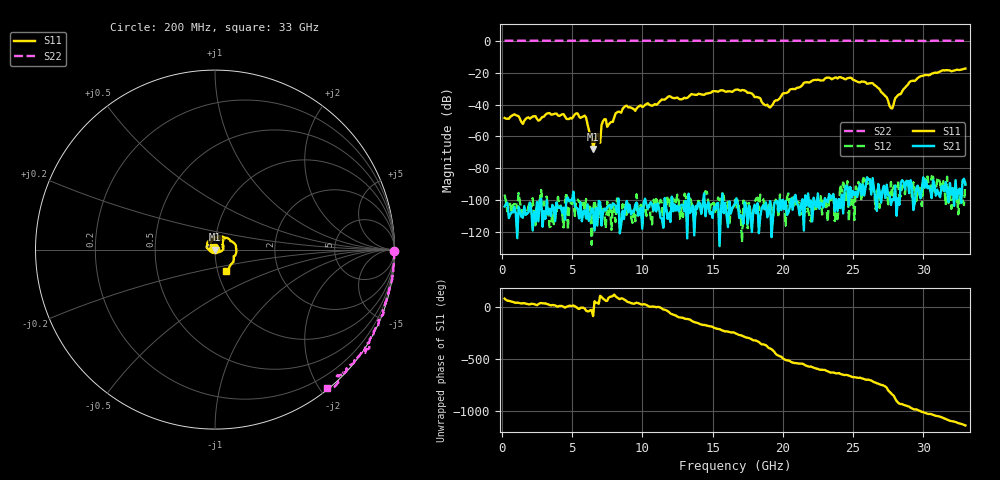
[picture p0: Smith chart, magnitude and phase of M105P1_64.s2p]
# GHZ S RI R 50
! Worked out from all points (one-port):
!   329 points, 200 MHz to 33 GHz, reference 50 ohm
!   lowest |S11| = -67.9 dB at 6.5 GHz (marker M1), VSWR 1.00, Z = 50 - j0.04 ohm
!   |S11| at or under -10 dB: start of sweep to end of sweep
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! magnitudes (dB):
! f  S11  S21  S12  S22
! 200 MHz  -48.5  -103.9  -96.5  0.0
! 900 MHz  -46.2  -104.3  -102.4  0.0
! 1.5 GHz  -52.2  -111.0  -111.6  0.0
! 3.3 GHz  -45.4  -108.9  -106.0  0.0
! 5.7 GHz  -47.9  -113.2  -104.4  0.0
! 6 GHz  -48.2  -111.4  -99.4  0.0
! 6.4 GHz  -59.6  -105.3  -127.9  0.0
! 6.5 GHz  -67.9  -106.0  -106.1  0.0
! 6.8 GHz  -58.8  -115.9  -104.2  0.0
! 7 GHz  -64.0  -101.2  -102.6  0.0
! 7.1 GHz  -52.9  -115.9  -106.0  0.0
! 7.3 GHz  -49.3  -105.3  -108.8  0.0
! 7.5 GHz  -54.0  -104.5  -100.8  0.0
! 8.8 GHz  -41.0  -104.6  -102.7  0.0
! 11.2 GHz  -38.5  -105.3  -102.0  -0.1
! 16.6 GHz  -30.8  -101.9  -99.7  0.0
! 19.1 GHz  -41.9  -100.6  -100.7  0.0
! 22.1 GHz  -25.0  -113.2  -106.2  0.0
! 26.4 GHz  -26.6  -86.1  -92.2  0.0
! 27.6 GHz  -40.8  -97.1  -100.6  -0.1
! 29.8 GHz  -22.3  -98.8  -91.5  -0.1
! 33 GHz  -17.5  -90.3  -88.3  -0.1
